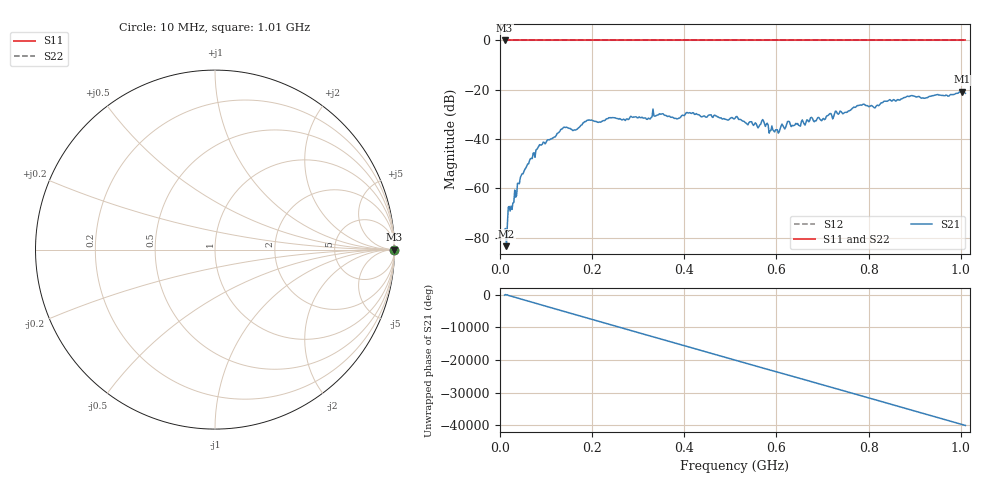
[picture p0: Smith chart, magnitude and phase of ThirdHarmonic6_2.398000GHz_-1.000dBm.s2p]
! 8/17/2025 3:56:19 AM
! C:\ANRITSUVNA\TEMP\TEMP.S2P
! CHANNEL.1
! TR.MEASUREMENT
! RAW.DATA
! RF.CORRECTION.OFF
! AVERAGING.OFF
! IF.BANDWIDTH: 5KHZ
! SWEEPTYPE:  FREQ.SWEEP(Linear)
! Reference Plane Port Info
! PORT:  PORT1  PORT2
! DISTANCE:  0  m  0  m
! TIME:  0  s  0  s
! PHASE.OFFSET:  0  deg.  0  deg.
! LOSS:  0  dB  0  dB
! REF.LOSS:  0  dB  0  dB
! REF.FREQ:  0  Hz  0  Hz
! Power Info
! POWER:  -20  dBm  -20  dBm
! EFF.POWER:  -20  dBm  -20  dBm
! SOURCE.ATTEN:  0  dB  0  dB
! TEST.ATTEN:  0  dB  0  dB
# GHZ S RI R 50.0
! FREQ.GHZ  S11RE  S11IM  S21RE  S21IM  S12RE  S12IM  S22RE  S22IM
!; PortSelection: Port_12
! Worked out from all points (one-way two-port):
!   501 points, 10 MHz to 1.01 GHz, reference 50 ohm
!   highest |S21| = -20.72 dB at 1.002 GHz (marker M1); lowest = -83.4 dB at 14 MHz (marker M2)
!   lowest |S11| = 0.0 dB at 10 MHz (marker M3)
!   |S11| at or under -10 dB: nowhere
!   |S22| runs from 0.0 to 0.0 dB; largest |S21 - S12| = 1.1
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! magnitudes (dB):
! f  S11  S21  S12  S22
! 10 MHz  0.0  -76.6  0.0  0.0
! 14 MHz  0.0  -83.4  0.0  0.0
! 20 MHz  0.0  -67.3  0.0  0.0
! 26 MHz  0.0  -68.5  0.0  0.0
! 42 MHz  0.0  -58.1  0.0  0.0
! 82 MHz  0.0  -43.6  0.0  0.0
! 136 MHz  0.0  -35.7  0.0  0.0
! 162 MHz  0.0  -36.2  0.0  0.0
! 178 MHz  0.0  -34.2  0.0  0.0
! 194 MHz  0.0  -32.2  0.0  0.0
! 322 MHz  0.0  -31.5  0.0  0.0
! 344 MHz  0.0  -30.2  0.0  0.0
! 510 MHz  0.0  -31.6  0.0  0.0
! 560 MHz  0.0  -35.4  0.0  0.0
! 570 MHz  0.0  -32.1  0.0  0.0
! 600 MHz  0.0  -36.2  0.0  0.0
! 626 MHz  0.0  -32.8  0.0  0.0
! 648 MHz  0.0  -34.4  0.0  0.0
! 678 MHz  0.0  -31.6  0.0  0.0
! 844 MHz  0.0  -24.2  0.0  0.0
! 1.002 GHz  0.0  -20.7  0.0  0.0
! 1.01 GHz  0.0  -21.4  0.0  0.0
